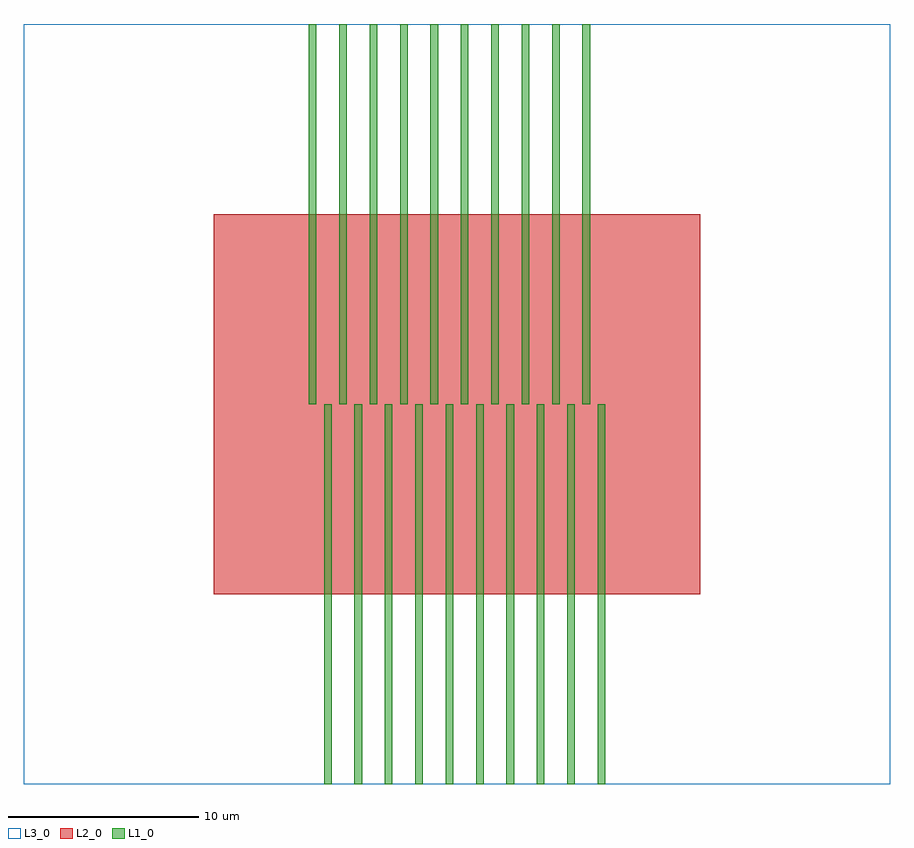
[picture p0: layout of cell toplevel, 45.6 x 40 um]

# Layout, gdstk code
import gdstk
lib = gdstk.Library(unit=1e-6, precision=1e-09)
def R(c, l, rs):  # rectangles x0, y0, x1, y1
    for r in rs: c.add(gdstk.rectangle(r[:2], r[2:], *l))
L1_0 = (1, 0)
L2_0 = (2, 0)
L3_0 = (3, 0)

rectangle022 = lib.new_cell('rectangle022')
R(rectangle022, L3_0, [(0,0,45.6,40)])

substrate = lib.new_cell('Substrate')
substrate.add(gdstk.Reference(rectangle022, (-15,-20)))

rectangle021 = lib.new_cell('rectangle021')
R(rectangle021, L2_0, [(0,0,25.6,20)])

piezo = lib.new_cell('Piezo')
piezo.add(gdstk.Reference(rectangle021, (-5,-10)))

rectangle = lib.new_cell('rectangle')
R(rectangle, L1_0, [(0,0,0.4,20)])

rectangle002 = lib.new_cell('rectangle002')
R(rectangle002, L1_0, [(0,0,0.4,20)])

rectangle003 = lib.new_cell('rectangle003')
R(rectangle003, L1_0, [(0,0,0.4,20)])

rectangle004 = lib.new_cell('rectangle004')
R(rectangle004, L1_0, [(0,0,0.4,20)])

rectangle005 = lib.new_cell('rectangle005')
R(rectangle005, L1_0, [(0,0,0.4,20)])

rectangle006 = lib.new_cell('rectangle006')
R(rectangle006, L1_0, [(0,0,0.4,20)])

rectangle007 = lib.new_cell('rectangle007')
R(rectangle007, L1_0, [(0,0,0.4,20)])

rectangle008 = lib.new_cell('rectangle008')
R(rectangle008, L1_0, [(0,0,0.4,20)])

rectangle009 = lib.new_cell('rectangle009')
R(rectangle009, L1_0, [(0,0,0.4,20)])

rectangle010 = lib.new_cell('rectangle010')
R(rectangle010, L1_0, [(0,0,0.4,20)])

rectangle011 = lib.new_cell('rectangle011')
R(rectangle011, L1_0, [(0,0,0.4,20)])

rectangle012 = lib.new_cell('rectangle012')
R(rectangle012, L1_0, [(0,0,0.4,20)])

rectangle013 = lib.new_cell('rectangle013')
R(rectangle013, L1_0, [(0,0,0.4,20)])

rectangle014 = lib.new_cell('rectangle014')
R(rectangle014, L1_0, [(0,0,0.4,20)])

rectangle015 = lib.new_cell('rectangle015')
R(rectangle015, L1_0, [(0,0,0.4,20)])

rectangle016 = lib.new_cell('rectangle016')
R(rectangle016, L1_0, [(0,0,0.4,20)])

rectangle017 = lib.new_cell('rectangle017')
R(rectangle017, L1_0, [(0,0,0.4,20)])

rectangle018 = lib.new_cell('rectangle018')
R(rectangle018, L1_0, [(0,0,0.4,20)])

rectangle019 = lib.new_cell('rectangle019')
R(rectangle019, L1_0, [(0,0,0.4,20)])

rectangle020 = lib.new_cell('rectangle020')
R(rectangle020, L1_0, [(0,0,0.4,20)])

idt_fingers = lib.new_cell('IDT_Fingers')
idt_fingers.add(gdstk.Reference(rectangle, (0,0)))
idt_fingers.add(gdstk.Reference(rectangle002, (0.8,-20)))
idt_fingers.add(gdstk.Reference(rectangle003, (1.6,0)))
idt_fingers.add(gdstk.Reference(rectangle004, (2.4,-20)))
idt_fingers.add(gdstk.Reference(rectangle005, (3.2,0)))
idt_fingers.add(gdstk.Reference(rectangle006, (4,-20)))
idt_fingers.add(gdstk.Reference(rectangle007, (4.8,0)))
idt_fingers.add(gdstk.Reference(rectangle008, (5.6,-20)))
idt_fingers.add(gdstk.Reference(rectangle009, (6.4,0)))
idt_fingers.add(gdstk.Reference(rectangle010, (7.2,-20)))
idt_fingers.add(gdstk.Reference(rectangle011, (8,0)))
idt_fingers.add(gdstk.Reference(rectangle012, (8.8,-20)))
idt_fingers.add(gdstk.Reference(rectangle013, (9.6,0)))
idt_fingers.add(gdstk.Reference(rectangle014, (10.4,-20)))
idt_fingers.add(gdstk.Reference(rectangle015, (11.2,0)))
idt_fingers.add(gdstk.Reference(rectangle016, (12,-20)))
idt_fingers.add(gdstk.Reference(rectangle017, (12.8,0)))
idt_fingers.add(gdstk.Reference(rectangle018, (13.6,-20)))
idt_fingers.add(gdstk.Reference(rectangle019, (14.4,0)))
idt_fingers.add(gdstk.Reference(rectangle020, (15.2,-20)))

toplevel = lib.new_cell('toplevel')
toplevel.add(gdstk.Reference(substrate, (0,0)))
toplevel.add(gdstk.Reference(piezo, (0,0)))
toplevel.add(gdstk.Reference(idt_fingers, (0,0)))

lib.write_gds('toplevel.gds')
